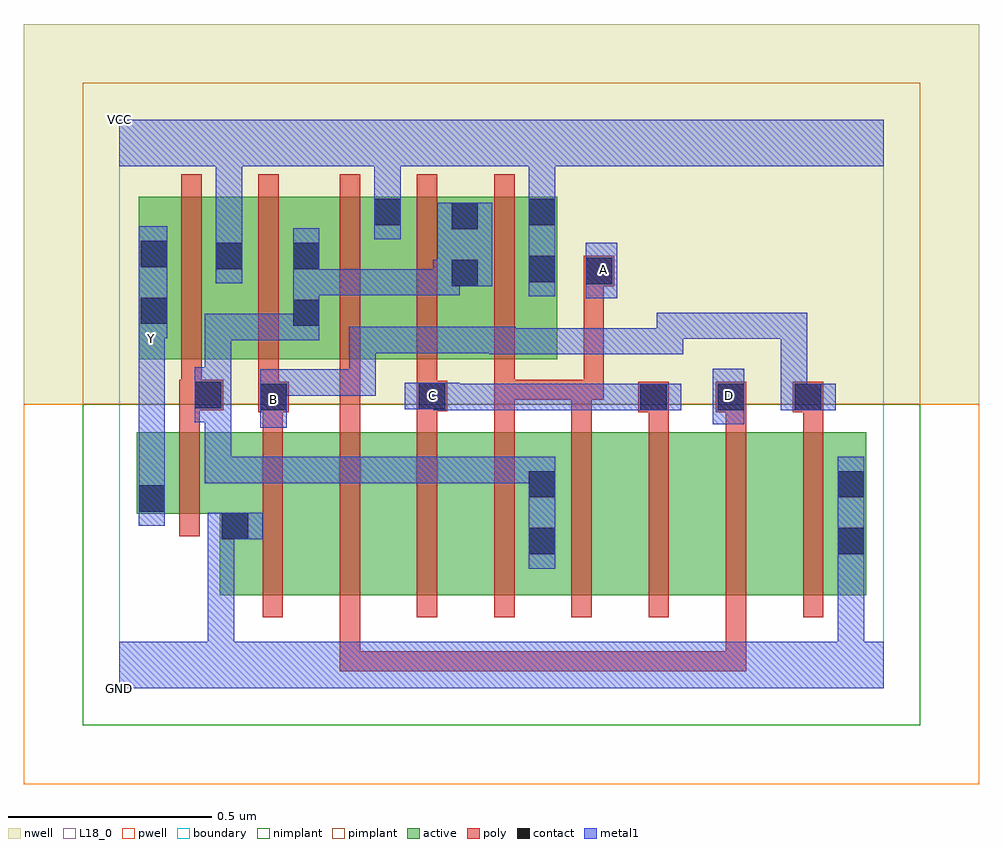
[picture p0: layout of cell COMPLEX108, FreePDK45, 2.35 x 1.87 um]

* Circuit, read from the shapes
.subckt COMPLEX108 A B C D GND VCC Y
M1 GND n1 Y VSUBS nfet w=0.2u l=0.05u
M2 n2 B GND VSUBS nfet w=0.4u l=0.05u
M3 n3 D n2 VSUBS nfet w=0.4u l=0.05u
M4 n4 C n3 VSUBS nfet w=0.4u l=0.05u
M5 n1 A n4 VSUBS nfet w=0.4u l=0.05u
M6 n5 A n1 VSUBS nfet w=0.4u l=0.05u
M7 n6 C n5 VSUBS nfet w=0.4u l=0.05u
M8 n7 D n6 VSUBS nfet w=0.4u l=0.05u
M9 GND B n7 VSUBS nfet w=0.4u l=0.05u
M10 VCC n1 Y n8 pfet w=0.4u l=0.05u
M11 n1 B VCC n8 pfet w=0.4u l=0.05u
M12 VCC D n1 n8 pfet w=0.4u l=0.05u
M13 n1 C VCC n8 pfet w=0.4u l=0.05u
M14 VCC A n1 n8 pfet w=0.4u l=0.05u
.ends

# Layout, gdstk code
import gdstk
lib = gdstk.Library(unit=1e-6, precision=1e-09)
def R(c, l, rs):  # rectangles x0, y0, x1, y1
    for r in rs: c.add(gdstk.rectangle(r[:2], r[2:], *l))
def A(c, l, x, y, w, h, nx, ny, dx, dy):  # array of equal rectangles
    R(c, l, [(x+i*dx, y+j*dy, x+i*dx+w, y+j*dy+h) for i in range(nx) for j in range(ny)])
active = (1, 0)
pwell = (2, 0)
nwell = (3, 0)
nimplant = (4, 0)
pimplant = (5, 0)
poly = (9, 0)
contact = (10, 0)
metal1 = (11, 0)
L18_0 = (18, 0)
boundary = (235, 0)

complex108 = lib.new_cell('COMPLEX108')
R(complex108, active, [(0.247,0.23,0.472,0.63), (0.247,0.23,0.322,0.597), (0.472,0.23,0.662,0.63), (0.662,0.23,0.852,0.63), (0.852,0.23,1.077,0.63), (1.002,0.23,1.077,0.63), (1.002,0.23,1.232,0.63), (1.232,0.23,1.422,0.63), (1.422,0.23,1.612,0.63), (1.612,0.23,1.837,0.63), (1.762,0.23,1.837,0.63), (0.042,0.43,0.322,0.63), (0.042,0.43,0.117,0.63), (0.047,0.81,0.122,1.155), (0.047,0.81,0.307,1.21), (0.232,0.81,0.497,1.21), (0.422,0.81,0.697,1.21), (0.422,0.81,0.497,1.155), (0.622,0.81,0.887,1.21), (0.812,0.81,1.077,1.21), (1.002,0.81,1.077,1.21), (0.232,0.907,0.307,1.155), (0.622,0.907,0.697,1.21), (0.812,0.907,0.887,1.2)])
R(complex108, pwell, [(-0.235,-0.235,2.115,0.7)])
R(complex108, nwell, [(-0.235,0.7,2.115,1.635)])
R(complex108, nimplant, [(-0.09,-0.09,1.97,0.7)])
R(complex108, pimplant, [(-0.09,0.7,1.97,1.49)])
A(complex108, poly, 0.352, 0.175, 0.05, 0.51, 8, 1, 0.19, 0)
A(complex108, poly, 1.302, 0.635, 0.05, 0.095, 3, 1, 0.19, 0)
A(complex108, poly, 1.277, 0.68, 0.075, 0.075, 3, 1, 0.19, 0)
A(complex108, poly, 0.542, 0.755, 0.05, 0.51, 3, 1, 0.19, 0)
R(complex108, poly, [(0.542,0.042,0.592,0.225), (0.542,0.042,0.592,0.092), (0.542,0.042,0.592,0.092), (0.542,0.042,0.592,0.092), (0.542,0.042,0.725,0.092), (0.675,0.042,0.725,0.092), (0.675,0.042,0.725,0.092), (0.675,0.042,0.725,0.092), (0.675,0.042,1.03,0.092), (0.98,0.042,1.03,0.092), (0.98,0.042,1.162,0.092), (1.112,0.042,1.162,0.092), (1.112,0.042,1.162,0.092), (1.112,0.042,1.162,0.092), (1.112,0.042,1.295,0.092), (1.245,0.042,1.295,0.092), (1.245,0.042,1.295,0.092), (1.245,0.042,1.295,0.092), (1.245,0.042,1.542,0.092), (1.492,0.042,1.542,0.225), (1.492,0.042,1.542,0.092), (1.492,0.042,1.542,0.092), (1.492,0.042,1.542,0.092), (0.147,0.375,0.197,0.685), (0.147,0.635,0.197,0.735), (0.352,0.635,0.402,0.73), (0.542,0.635,0.592,0.76), (0.732,0.635,0.782,0.732), (0.922,0.635,0.972,0.76), (1.112,0.635,1.162,0.76), (0.342,0.68,0.417,0.755), (0.732,0.682,0.807,0.757), (0.147,0.685,0.255,0.76), (0.342,0.705,0.392,0.805), (0.732,0.707,0.782,0.805), (0.152,0.71,0.202,0.805), (0.542,0.71,0.592,0.805), (0.542,0.71,0.592,0.76), (0.922,0.71,0.972,0.805), (0.922,0.71,0.972,0.76), (0.922,0.71,1.162,0.76), (1.112,0.71,1.162,0.76), (1.112,0.71,1.162,0.76), (1.112,0.71,1.182,0.76), (1.132,0.71,1.182,0.76), (1.132,0.71,1.192,0.76), (1.142,0.71,1.192,1.04), (0.152,0.755,0.202,1.265), (0.342,0.755,0.392,1.265), (1.142,0.99,1.217,1.065)])
A(complex108, contact, 1.282, 0.685, 0.065, 0.065, 3, 1, 0.19, 0)
R(complex108, contact, [(1.007,0.33,1.072,0.395), (1.767,0.33,1.832,0.395), (0.252,0.367,0.317,0.432), (0.047,0.435,0.112,0.5), (1.007,0.47,1.072,0.535), (1.767,0.47,1.832,0.535), (0.347,0.685,0.412,0.75), (0.737,0.687,0.802,0.752), (0.185,0.69,0.25,0.755), (0.427,0.892,0.492,0.957), (0.052,0.897,0.117,0.962), (0.817,0.99,0.882,1.055), (1.147,0.995,1.212,1.06), (1.007,1,1.072,1.065), (0.237,1.032,0.302,1.097), (0.427,1.032,0.492,1.097), (0.052,1.037,0.117,1.102), (0.817,1.13,0.882,1.195), (0.627,1.14,0.692,1.205), (1.007,1.14,1.072,1.205)])
R(complex108, metal1, [(0,0,1.88,0.115), (0.217,0.05,0.282,0.115), (0.217,0.05,0.282,0.115), (0.217,0.05,0.282,0.432), (1.767,0.05,1.832,0.36), (1.767,0.05,1.832,0.115), (1.767,0.05,1.832,0.115), (1.007,0.295,1.072,0.57), (1.767,0.295,1.832,0.57), (0.217,0.367,0.352,0.432), (0.047,0.4,0.112,0.535), (0.047,0.47,0.112,0.857), (0.21,0.505,0.275,0.57), (0.21,0.505,0.492,0.57), (0.21,0.505,0.275,0.79), (0.427,0.505,0.492,0.57), (0.427,0.505,0.492,0.57), (0.427,0.505,0.492,0.57), (0.427,0.505,0.63,0.57), (0.565,0.505,0.63,0.57), (0.565,0.505,0.63,0.57), (0.565,0.505,0.63,0.57), (0.565,0.505,0.767,0.57), (0.702,0.505,0.767,0.57), (0.702,0.505,0.767,0.57), (0.702,0.505,0.767,0.57), (0.702,0.505,0.975,0.57), (0.91,0.505,0.975,0.57), (0.91,0.505,1.072,0.57), (0.347,0.642,0.412,0.785), (1.46,0.65,1.537,0.787), (0.185,0.655,0.25,0.79), (0.772,0.685,0.975,0.75), (0.772,0.685,0.837,0.752), (0.91,0.685,0.975,0.75), (0.91,0.685,0.975,0.75), (0.91,0.685,0.975,0.75), (0.91,0.685,1.112,0.75), (1.047,0.685,1.112,0.75), (1.047,0.685,1.112,0.75), (1.047,0.685,1.112,0.75), (1.047,0.685,1.312,0.75), (1.247,0.685,1.382,0.75), (1.627,0.685,1.692,0.75), (1.627,0.685,1.692,0.75), (1.627,0.685,1.762,0.75), (1.627,0.685,1.692,0.925), (0.702,0.687,0.837,0.752), (0.772,0.687,0.837,0.752), (0.347,0.72,0.412,0.785), (0.347,0.72,0.412,0.785), (0.347,0.72,0.63,0.785), (0.565,0.72,0.63,0.785), (0.565,0.72,0.63,0.785), (0.565,0.72,0.63,0.785), (0.565,0.72,0.63,0.89), (0.185,0.725,0.275,0.79), (0.21,0.725,0.275,0.79), (0.21,0.725,0.275,0.922), (0.047,0.792,0.112,0.927), (0.91,0.822,1.112,0.887), (0.91,0.822,0.975,0.89), (1.047,0.822,1.112,0.887), (1.047,0.822,1.112,0.887), (1.047,0.822,1.112,0.887), (1.047,0.822,1.25,0.887), (1.185,0.822,1.25,0.887), (1.185,0.822,1.387,0.887), (1.322,0.822,1.387,0.925), (0.565,0.825,0.63,0.89), (0.565,0.825,0.837,0.89), (0.772,0.825,0.837,0.89), (0.772,0.825,0.837,0.89), (0.772,0.825,0.837,0.89), (0.772,0.825,0.975,0.89), (0.91,0.825,0.975,0.89), (0.91,0.825,0.975,0.89), (0.21,0.857,0.275,0.922), (0.21,0.857,0.492,0.922), (0.427,0.857,0.492,1.132), (0.427,0.857,0.492,0.922), (0.427,0.857,0.492,0.922), (1.322,0.86,1.387,0.925), (1.322,0.86,1.387,0.925), (1.322,0.86,1.692,0.925), (1.627,0.86,1.692,0.925), (0.047,0.862,0.112,0.927), (0.047,0.862,0.117,1.137), (1.147,0.96,1.225,1.097), (1.007,0.965,1.072,1.24), (0.427,0.967,0.492,1.032), (0.427,0.967,0.63,1.032), (0.427,0.967,0.492,1.132), (0.565,0.967,0.63,1.032), (0.565,0.967,0.63,1.032), (0.565,0.967,0.63,1.032), (0.565,0.967,0.837,1.032), (0.772,0.967,0.837,1.055), (0.772,0.99,0.847,1.055), (0.782,0.99,0.917,1.195), (0.237,0.997,0.302,1.132), (0.237,1.067,0.302,1.35), (0.627,1.105,0.692,1.24), (0.627,1.175,0.692,1.35), (1.007,1.175,1.072,1.35), (0,1.285,1.88,1.4)])
R(complex108, L18_0, [(0,0,1.88,0.115), (0.217,0.05,0.282,0.115), (0.217,0.05,0.282,0.115), (0.217,0.05,0.282,0.432), (1.767,0.05,1.832,0.115), (1.767,0.05,1.832,0.115), (1.767,0.05,1.832,0.36), (1.767,0.295,1.832,0.57), (0.217,0.367,0.352,0.432), (0.047,0.4,0.112,0.535), (0.047,0.47,0.112,0.857), (0.347,0.642,0.412,0.785), (1.46,0.65,1.537,0.787), (0.347,0.677,0.412,0.742), (0.772,0.685,0.837,0.752), (0.772,0.685,0.975,0.75), (0.91,0.685,0.975,0.75), (0.91,0.685,0.975,0.75), (0.91,0.685,0.975,0.75), (0.91,0.685,1.112,0.75), (1.047,0.685,1.112,0.75), (1.047,0.685,1.112,0.75), (1.047,0.685,1.112,0.75), (1.047,0.685,1.312,0.75), (1.247,0.685,1.382,0.75), (1.627,0.685,1.692,0.75), (1.627,0.685,1.692,0.75), (1.627,0.685,1.762,0.75), (1.627,0.685,1.692,0.925), (0.702,0.687,0.837,0.752), (0.737,0.687,0.802,0.752), (0.772,0.687,0.837,0.752), (1.467,0.687,1.532,0.752), (0.347,0.72,0.412,0.785), (0.347,0.72,0.412,0.785), (0.347,0.72,0.63,0.785), (0.565,0.72,0.63,0.785), (0.565,0.72,0.63,0.785), (0.565,0.72,0.63,0.785), (0.565,0.72,0.63,0.89), (0.047,0.792,0.112,0.927), (0.91,0.822,0.975,0.89), (0.91,0.822,1.112,0.887), (1.047,0.822,1.112,0.887), (1.047,0.822,1.112,0.887), (1.047,0.822,1.112,0.887), (1.047,0.822,1.25,0.887), (1.185,0.822,1.25,0.887), (1.185,0.822,1.387,0.887), (1.322,0.822,1.387,0.925), (0.565,0.825,0.63,0.89), (0.565,0.825,0.837,0.89), (0.772,0.825,0.837,0.89), (0.772,0.825,0.837,0.89), (0.772,0.825,0.837,0.89), (0.772,0.825,0.975,0.89), (0.91,0.825,0.975,0.89), (0.91,0.825,0.975,0.89), (0.047,0.827,0.112,0.892), (1.322,0.86,1.387,0.925), (1.322,0.86,1.387,0.925), (1.322,0.86,1.692,0.925), (1.627,0.86,1.692,0.925), (0.047,0.862,0.117,1.137), (0.047,0.862,0.112,0.927), (1.147,0.96,1.225,1.097), (1.007,0.965,1.072,1.24), (0.237,0.997,0.302,1.132), (1.157,0.997,1.222,1.062), (0.237,1.067,0.302,1.35), (0.627,1.105,0.692,1.24), (0.627,1.175,0.692,1.35), (1.007,1.175,1.072,1.35), (0,1.285,1.88,1.4)])
R(complex108, boundary, [(0,0,1.88,1.4)])
complex108.add(gdstk.Label('A', (1.19,1.03), layer=11, texttype=0))
complex108.add(gdstk.Label('B', (0.38,0.71), layer=11, texttype=0))
complex108.add(gdstk.Label('C', (0.77,0.72), layer=11, texttype=0))
complex108.add(gdstk.Label('D', (1.5,0.72), layer=11, texttype=0))
complex108.add(gdstk.Label('Y', (0.08,0.86), layer=11, texttype=0))
complex108.add(gdstk.Label('VCC', (0,1.4), layer=11, texttype=0))
complex108.add(gdstk.Label('GND', (0,0), layer=11, texttype=0))

lib.write_gds('COMPLEX108.gds')
